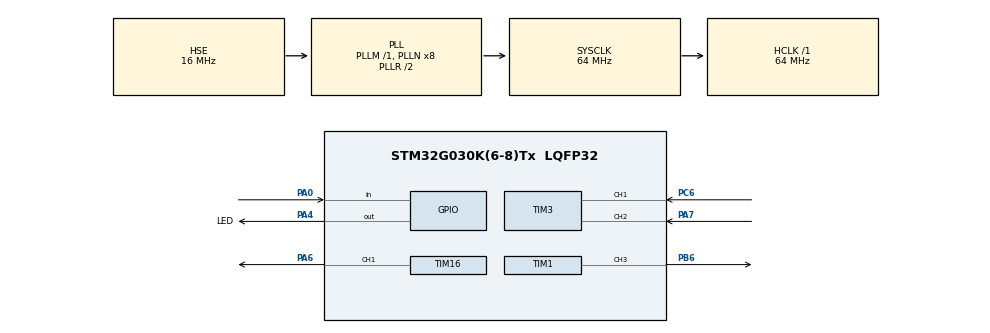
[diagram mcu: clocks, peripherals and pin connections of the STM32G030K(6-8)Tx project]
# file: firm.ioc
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Mcu.Family=STM32G0
Mcu.Name=STM32G030K(6-8)Tx
Mcu.Package=LQFP32
NVIC.TIM14_IRQn=true\:0\:0\:false\:false\:true\:true\:true\:true
PA0.Signal=GPIO_Input
PA4.GPIO_Label=LED
PA4.Signal=GPIO_Output
PA6.Signal=S_TIM16_CH1
PA7.Signal=S_TIM3_CH2
PB6.Signal=S_TIM1_CH3
PC14-OSC32_IN\ (PC14).Mode=HSE-External-Clock-Source
PC14-OSC32_IN\ (PC14).Signal=RCC_OSC_IN
PC6.Signal=S_TIM3_CH1
ProjectManager.HeapSize=0x200
ProjectManager.StackSize=0x400
ProjectManager.TargetToolchain=STM32CubeIDE
RCC.ADCFreq_Value=64000000
RCC.AHBFreq_Value=64000000
RCC.CortexFreq_Value=64000000
RCC.EXTERNAL_CLOCK_VALUE=12288000
RCC.HCLKFreq_Value=64000000
RCC.HSE_VALUE=16000000
RCC.HSI_VALUE=16000000
RCC.LSE_VALUE=32768
RCC.PLLSourceVirtual=RCC_PLLSOURCE_HSE
RCC.SYSCLKFreq_VALUE=64000000
RCC.SYSCLKSource=RCC_SYSCLKSOURCE_PLLCLK
RCC.VCOOutputFreq_Value=128000000
SH.S_TIM16_CH1.0=TIM16_CH1,PWM Generation1 CH1
SH.S_TIM1_CH3.0=TIM1_CH3,PWM Generation3 CH3
SH.S_TIM3_CH1.0=TIM3_CH1,Encoder_Interface
SH.S_TIM3_CH2.0=TIM3_CH2,Encoder_Interface
TIM1.Channel-PWM\ Generation3\ CH3=TIM_CHANNEL_3
TIM1.Period=800-1
TIM1.Prescaler=4-1
TIM14.Period=100-1
TIM14.Prescaler=6400-1
TIM16.Channel=TIM_CHANNEL_1
TIM16.Period=800-1
TIM16.Prescaler=4-1
TIM3.EncoderMode=TIM_ENCODERMODE_TI12
VP_TIM14_VS_ClockSourceINT.Mode=Enable_Timer
VP_TIM16_VS_ClockSourceINT.Mode=Enable_Timer
board=custom

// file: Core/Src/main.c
/* USER CODE BEGIN Header */
/**
  ******************************************************************************
  * @file           : main.c
  * @brief          : Main program body
  ******************************************************************************
  * @attention
  *
  * Copyright (c) 2024 STMicroelectronics.
  * All rights reserved.
  *
  * This software is licensed under terms that can be found in the LICENSE file
  * in the root directory of this software component.
  * If no LICENSE file comes with this software, it is provided AS-IS.
  *
  ******************************************************************************
  */
/* USER CODE END Header */
#include "main.h"

TIM_HandleTypeDef htim1;
TIM_HandleTypeDef htim3;
TIM_HandleTypeDef htim14;
TIM_HandleTypeDef htim16;

/* USER CODE BEGIN PV */

uint16_t cnt=0;
int32_t diff_cnt=0;
int speed=0;
int duty=0;

long length = 0;

int read = 0;

/* USER CODE END PV */

void SystemClock_Config(void);
static void MX_GPIO_Init(void);
static void MX_TIM3_Init(void);
static void MX_TIM16_Init(void);
static void MX_TIM1_Init(void);
static void MX_TIM14_Init(void);

int main(void)
{

  /* MCU Configuration--------------------------------------------------------*/

  /* Reset of all peripherals, Initializes the Flash interface and the Systick. */
  HAL_Init();

  /* Configure the system clock */
  SystemClock_Config();

  /* Initialize all configured peripherals */
  MX_GPIO_Init();
  MX_TIM3_Init();
  MX_TIM16_Init();
  MX_TIM1_Init();
  MX_TIM14_Init();
  /* USER CODE BEGIN 2 */
  HAL_TIM_Encoder_Start(&htim3, TIM_CHANNEL_ALL);

  HAL_TIM_Base_Start_IT(&htim14);

  HAL_TIM_PWM_Start(&htim16, TIM_CHANNEL_1);
  HAL_TIM_PWM_Start(&htim1, TIM_CHANNEL_3);
  /* USER CODE END 2 */

  /* Infinite loop */
  /* USER CODE BEGIN WHILE */
  while (1)
  {
	  read = HAL_GPIO_ReadPin(GPIOA, GPIO_PIN_0);
	  if(read==0 && (cnt>50 && 32000>cnt)){ //down
		  duty= 600;
	  }else if(read==1 && (cnt<10000 || 30000<cnt)){ //up
		  duty= -600;
	  }else{
		  duty = 0;
	  }

	  if(duty>0){ //dutyMax 800
		  __HAL_TIM_SET_COMPARE(&htim1, TIM_CHANNEL_3, duty);
		  __HAL_TIM_SET_COMPARE(&htim16, TIM_CHANNEL_1, 0);
	  }else{
		  __HAL_TIM_SET_COMPARE(&htim1, TIM_CHANNEL_3, 0);
		  __HAL_TIM_SET_COMPARE(&htim16, TIM_CHANNEL_1, -1 * duty);
	  }
	  HAL_Delay(100);
    /* USER CODE END WHILE */

  }
}

void SystemClock_Config(void)
{
  RCC_OscInitTypeDef RCC_OscInitStruct = {0};
  RCC_ClkInitTypeDef RCC_ClkInitStruct = {0};

  /** Configure the main internal regulator output voltage
  */
  HAL_PWREx_ControlVoltageScaling(PWR_REGULATOR_VOLTAGE_SCALE1);

  /** Initializes the RCC Oscillators according to the specified parameters
  * in the RCC_OscInitTypeDef structure.
  */
  RCC_OscInitStruct.OscillatorType = RCC_OSCILLATORTYPE_HSE;
  RCC_OscInitStruct.HSEState = RCC_HSE_BYPASS;
  RCC_OscInitStruct.PLL.PLLState = RCC_PLL_ON;
  RCC_OscInitStruct.PLL.PLLSource = RCC_PLLSOURCE_HSE;
  RCC_OscInitStruct.PLL.PLLM = RCC_PLLM_DIV1;
  RCC_OscInitStruct.PLL.PLLN = 8;
  RCC_OscInitStruct.PLL.PLLP = RCC_PLLP_DIV2;
  RCC_OscInitStruct.PLL.PLLR = RCC_PLLR_DIV2;
  if (HAL_RCC_OscConfig(&RCC_OscInitStruct) != HAL_OK)
  {
    Error_Handler();
  }

  /** Initializes the CPU, AHB and APB buses clocks
  */
  RCC_ClkInitStruct.ClockType = RCC_CLOCKTYPE_HCLK|RCC_CLOCKTYPE_SYSCLK
                              |RCC_CLOCKTYPE_PCLK1;
  RCC_ClkInitStruct.SYSCLKSource = RCC_SYSCLKSOURCE_PLLCLK;
  RCC_ClkInitStruct.AHBCLKDivider = RCC_SYSCLK_DIV1;
  RCC_ClkInitStruct.APB1CLKDivider = RCC_HCLK_DIV1;

  if (HAL_RCC_ClockConfig(&RCC_ClkInitStruct, FLASH_LATENCY_2) != HAL_OK)
  {
    Error_Handler();
  }
}

static void MX_TIM1_Init(void)
{

  TIM_MasterConfigTypeDef sMasterConfig = {0};
  TIM_OC_InitTypeDef sConfigOC = {0};
  TIM_BreakDeadTimeConfigTypeDef sBreakDeadTimeConfig = {0};

  htim1.Instance = TIM1;
  htim1.Init.Prescaler = 4-1;
  htim1.Init.CounterMode = TIM_COUNTERMODE_UP;
  htim1.Init.Period = 800-1;
  htim1.Init.ClockDivision = TIM_CLOCKDIVISION_DIV1;
  htim1.Init.RepetitionCounter = 0;
  htim1.Init.AutoReloadPreload = TIM_AUTORELOAD_PRELOAD_DISABLE;
  if (HAL_TIM_PWM_Init(&htim1) != HAL_OK)
  {
    Error_Handler();
  }
  sMasterConfig.MasterOutputTrigger = TIM_TRGO_RESET;
  sMasterConfig.MasterOutputTrigger2 = TIM_TRGO2_RESET;
  sMasterConfig.MasterSlaveMode = TIM_MASTERSLAVEMODE_DISABLE;
  if (HAL_TIMEx_MasterConfigSynchronization(&htim1, &sMasterConfig) != HAL_OK)
  {
    Error_Handler();
  }
  sConfigOC.OCMode = TIM_OCMODE_PWM1;
  sConfigOC.Pulse = 0;
  sConfigOC.OCPolarity = TIM_OCPOLARITY_HIGH;
  sConfigOC.OCNPolarity = TIM_OCNPOLARITY_HIGH;
  sConfigOC.OCFastMode = TIM_OCFAST_DISABLE;
  sConfigOC.OCIdleState = TIM_OCIDLESTATE_RESET;
  sConfigOC.OCNIdleState = TIM_OCNIDLESTATE_RESET;
  if (HAL_TIM_PWM_ConfigChannel(&htim1, &sConfigOC, TIM_CHANNEL_3) != HAL_OK)
  {
    Error_Handler();
  }
  sBreakDeadTimeConfig.OffStateRunMode = TIM_OSSR_DISABLE;
  sBreakDeadTimeConfig.OffStateIDLEMode = TIM_OSSI_DISABLE;
  sBreakDeadTimeConfig.LockLevel = TIM_LOCKLEVEL_OFF;
  sBreakDeadTimeConfig.DeadTime = 0;
  sBreakDeadTimeConfig.BreakState = TIM_BREAK_DISABLE;
  sBreakDeadTimeConfig.BreakPolarity = TIM_BREAKPOLARITY_HIGH;
  sBreakDeadTimeConfig.BreakFilter = 0;
  sBreakDeadTimeConfig.BreakAFMode = TIM_BREAK_AFMODE_INPUT;
  sBreakDeadTimeConfig.Break2State = TIM_BREAK2_DISABLE;
  sBreakDeadTimeConfig.Break2Polarity = TIM_BREAK2POLARITY_HIGH;
  sBreakDeadTimeConfig.Break2Filter = 0;
  sBreakDeadTimeConfig.Break2AFMode = TIM_BREAK_AFMODE_INPUT;
  sBreakDeadTimeConfig.AutomaticOutput = TIM_AUTOMATICOUTPUT_DISABLE;
  if (HAL_TIMEx_ConfigBreakDeadTime(&htim1, &sBreakDeadTimeConfig) != HAL_OK)
  {
    Error_Handler();
  }
  HAL_TIM_MspPostInit(&htim1);

}

static void MX_TIM3_Init(void)
{

  TIM_Encoder_InitTypeDef sConfig = {0};
  TIM_MasterConfigTypeDef sMasterConfig = {0};

  htim3.Instance = TIM3;
  htim3.Init.Prescaler = 0;
  htim3.Init.CounterMode = TIM_COUNTERMODE_UP;
  htim3.Init.Period = 65535;
  htim3.Init.ClockDivision = TIM_CLOCKDIVISION_DIV1;
  htim3.Init.AutoReloadPreload = TIM_AUTORELOAD_PRELOAD_DISABLE;
  sConfig.EncoderMode = TIM_ENCODERMODE_TI12;
  sConfig.IC1Polarity = TIM_ICPOLARITY_RISING;
  sConfig.IC1Selection = TIM_ICSELECTION_DIRECTTI;
  sConfig.IC1Prescaler = TIM_ICPSC_DIV1;
  sConfig.IC1Filter = 0;
  sConfig.IC2Polarity = TIM_ICPOLARITY_RISING;
  sConfig.IC2Selection = TIM_ICSELECTION_DIRECTTI;
  sConfig.IC2Prescaler = TIM_ICPSC_DIV1;
  sConfig.IC2Filter = 0;
  if (HAL_TIM_Encoder_Init(&htim3, &sConfig) != HAL_OK)
  {
    Error_Handler();
  }
  sMasterConfig.MasterOutputTrigger = TIM_TRGO_RESET;
  sMasterConfig.MasterSlaveMode = TIM_MASTERSLAVEMODE_DISABLE;
  if (HAL_TIMEx_MasterConfigSynchronization(&htim3, &sMasterConfig) != HAL_OK)
  {
    Error_Handler();
  }

}

static void MX_TIM14_Init(void)
{

  htim14.Instance = TIM14;
  htim14.Init.Prescaler = 6400-1;
  htim14.Init.CounterMode = TIM_COUNTERMODE_UP;
  htim14.Init.Period = 100-1;
  htim14.Init.ClockDivision = TIM_CLOCKDIVISION_DIV1;
  htim14.Init.AutoReloadPreload = TIM_AUTORELOAD_PRELOAD_DISABLE;
  if (HAL_TIM_Base_Init(&htim14) != HAL_OK)
  {
    Error_Handler();
  }

}

static void MX_TIM16_Init(void)
{

  TIM_OC_InitTypeDef sConfigOC = {0};
  TIM_BreakDeadTimeConfigTypeDef sBreakDeadTimeConfig = {0};

  htim16.Instance = TIM16;
  htim16.Init.Prescaler = 4-1;
  htim16.Init.CounterMode = TIM_COUNTERMODE_UP;
  htim16.Init.Period = 800-1;
  htim16.Init.ClockDivision = TIM_CLOCKDIVISION_DIV1;
  htim16.Init.RepetitionCounter = 0;
  htim16.Init.AutoReloadPreload = TIM_AUTORELOAD_PRELOAD_DISABLE;
  if (HAL_TIM_Base_Init(&htim16) != HAL_OK)
  {
    Error_Handler();
  }
  if (HAL_TIM_PWM_Init(&htim16) != HAL_OK)
  {
    Error_Handler();
  }
  sConfigOC.OCMode = TIM_OCMODE_PWM1;
  sConfigOC.Pulse = 0;
  sConfigOC.OCPolarity = TIM_OCPOLARITY_HIGH;
  sConfigOC.OCNPolarity = TIM_OCNPOLARITY_HIGH;
  sConfigOC.OCFastMode = TIM_OCFAST_DISABLE;
  sConfigOC.OCIdleState = TIM_OCIDLESTATE_RESET;
  sConfigOC.OCNIdleState = TIM_OCNIDLESTATE_RESET;
  if (HAL_TIM_PWM_ConfigChannel(&htim16, &sConfigOC, TIM_CHANNEL_1) != HAL_OK)
  {
    Error_Handler();
  }
  sBreakDeadTimeConfig.OffStateRunMode = TIM_OSSR_DISABLE;
  sBreakDeadTimeConfig.OffStateIDLEMode = TIM_OSSI_DISABLE;
  sBreakDeadTimeConfig.LockLevel = TIM_LOCKLEVEL_OFF;
  sBreakDeadTimeConfig.DeadTime = 0;
  sBreakDeadTimeConfig.BreakState = TIM_BREAK_DISABLE;
  sBreakDeadTimeConfig.BreakPolarity = TIM_BREAKPOLARITY_HIGH;
  sBreakDeadTimeConfig.BreakFilter = 0;
  sBreakDeadTimeConfig.AutomaticOutput = TIM_AUTOMATICOUTPUT_DISABLE;
  if (HAL_TIMEx_ConfigBreakDeadTime(&htim16, &sBreakDeadTimeConfig) != HAL_OK)
  {
    Error_Handler();
  }
  HAL_TIM_MspPostInit(&htim16);

}

static void MX_GPIO_Init(void)
{
  GPIO_InitTypeDef GPIO_InitStruct = {0};

  /* GPIO Ports Clock Enable */
  __HAL_RCC_GPIOC_CLK_ENABLE();
  __HAL_RCC_GPIOA_CLK_ENABLE();
  __HAL_RCC_GPIOB_CLK_ENABLE();

  /*Configure GPIO pin Output Level */
  HAL_GPIO_WritePin(LED_GPIO_Port, LED_Pin, GPIO_PIN_RESET);

  /*Configure GPIO pin : PA0 */
  GPIO_InitStruct.Pin = GPIO_PIN_0;
  GPIO_InitStruct.Mode = GPIO_MODE_INPUT;
  GPIO_InitStruct.Pull = GPIO_NOPULL;
  HAL_GPIO_Init(GPIOA, &GPIO_InitStruct);

  /*Configure GPIO pin : LED_Pin */
  GPIO_InitStruct.Pin = LED_Pin;
  GPIO_InitStruct.Mode = GPIO_MODE_OUTPUT_PP;
  GPIO_InitStruct.Pull = GPIO_NOPULL;
  GPIO_InitStruct.Speed = GPIO_SPEED_FREQ_LOW;
  HAL_GPIO_Init(LED_GPIO_Port, &GPIO_InitStruct);

}

/* USER CODE BEGIN 4 */

void HAL_TIM_PeriodElapsedCallback(TIM_HandleTypeDef *htim)
{
    if (htim == &htim14){ //10msec timer
  	  HAL_GPIO_TogglePin(LED_GPIO_Port, LED_Pin);
  	  uint16_t raw_cnt = TIM3->CNT;
  	  int32_t raw_diff = raw_cnt - cnt;
  	  cnt = raw_cnt;

//  	  if(raw_diff<0){
//  		  raw_diff += 65536;
//  	  }
  	  diff_cnt = raw_diff;
    }
}

/* USER CODE END 4 */

void Error_Handler(void)
{
  __disable_irq();
  while (1)
  {
  }
}
